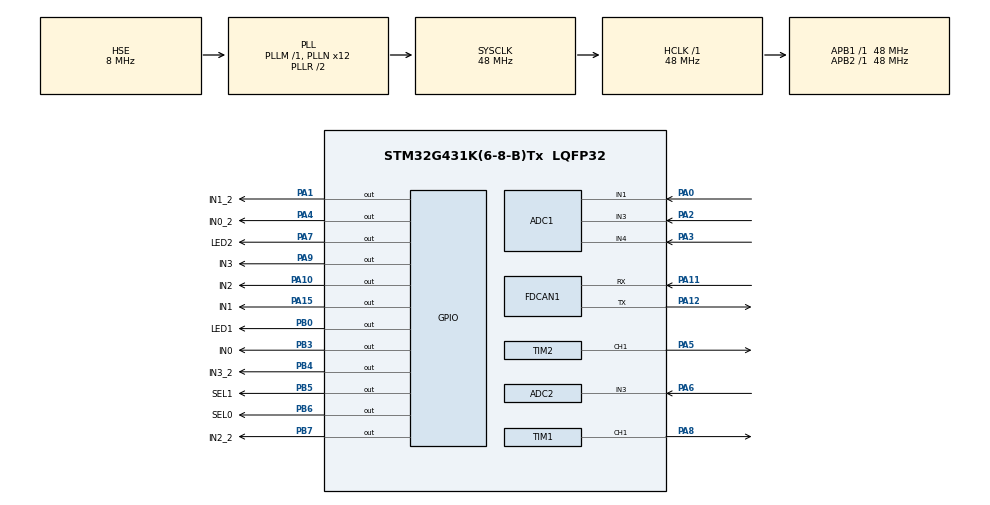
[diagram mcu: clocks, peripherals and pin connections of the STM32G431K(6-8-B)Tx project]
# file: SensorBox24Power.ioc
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ADC1.Channel-0\#ChannelRegularConversion=ADC_CHANNEL_1
ADC1.Channel-3\#ChannelRegularConversion=ADC_CHANNEL_3
ADC1.Channel-4\#ChannelRegularConversion=ADC_CHANNEL_4
ADC1.DataAlign=ADC_DATAALIGN_RIGHT
ADC1.DiscontinuousConvMode=ENABLE
ADC1.NbrOfConversion=3
ADC1.NbrOfConversionFlag=1
ADC1.OffsetNumber-0\#ChannelRegularConversion=ADC_OFFSET_NONE
ADC1.OffsetNumber-3\#ChannelRegularConversion=ADC_OFFSET_NONE
ADC1.OffsetNumber-4\#ChannelRegularConversion=ADC_OFFSET_NONE
ADC1.Rank-0\#ChannelRegularConversion=1
ADC1.Rank-3\#ChannelRegularConversion=2
ADC1.Rank-4\#ChannelRegularConversion=3
ADC1.SamplingTime-0\#ChannelRegularConversion=ADC_SAMPLETIME_12CYCLES_5
ADC1.SamplingTime-3\#ChannelRegularConversion=ADC_SAMPLETIME_12CYCLES_5
ADC1.SamplingTime-4\#ChannelRegularConversion=ADC_SAMPLETIME_2CYCLES_5
ADC1.master=1
ADC2.Channel-1\#ChannelRegularConversion=ADC_CHANNEL_3
ADC2.DataAlign=ADC_DATAALIGN_RIGHT
ADC2.NbrOfConversionFlag=1
ADC2.OffsetNumber-1\#ChannelRegularConversion=ADC_OFFSET_NONE
ADC2.Rank-1\#ChannelRegularConversion=1
ADC2.SamplingTime-1\#ChannelRegularConversion=ADC_SAMPLETIME_12CYCLES_5
FDCAN1.CalculateBaudRateNominal=1000000
FDCAN1.CalculateTimeBitNominal=1000
FDCAN1.CalculateTimeQuantumNominal=62.5
FDCAN1.NominalPrescaler=1
FDCAN1.NominalTimeSeg1=13
FDCAN1.NominalTimeSeg2=2
FDCAN1.StdFiltersNbr=28
Mcu.Family=STM32G4
Mcu.Name=STM32G431K(6-8-B)Tx
Mcu.Package=LQFP32
NVIC.FDCAN1_IT0_IRQn=true\:0\:0\:false\:false\:true\:true\:true\:true
NVIC.PriorityGroup=NVIC_PRIORITYGROUP_4
NVIC.TIM2_IRQn=true\:0\:0\:false\:false\:true\:true\:true\:true
NVIC.TIM3_IRQn=true\:0\:0\:false\:false\:true\:true\:true\:true
NVIC.TIM4_IRQn=true\:0\:0\:false\:false\:true\:true\:true\:true
NVIC.TIM7_IRQn=true\:0\:0\:false\:false\:true\:true\:true\:true
PA0.Mode=IN1-Single-Ended
PA0.Signal=ADC1_IN1
PA1.GPIO_Label=IN1_2
PA1.Signal=GPIO_Output
PA10.GPIO_Label=IN2
PA10.Signal=GPIO_Output
PA11.Mode=FDCAN_Activate
PA11.Signal=FDCAN1_RX
PA12.Mode=FDCAN_Activate
PA12.Signal=FDCAN1_TX
PA13.Mode=Serial_Wire
PA13.Signal=SYS_JTMS-SWDIO
PA14.Mode=Serial_Wire
PA14.Signal=SYS_JTCK-SWCLK
PA15.GPIO_Label=IN1
PA15.Signal=GPIO_Output
PA2.Mode=IN3-Single-Ended
PA2.Signal=ADC1_IN3
PA3.Mode=IN4-Single-Ended
PA3.Signal=ADC1_IN4
PA4.GPIO_Label=IN0_2
PA4.Signal=GPIO_Output
PA5.Signal=S_TIM2_CH1
PA6.Mode=IN3-Single-Ended
PA6.Signal=ADC2_IN3
PA7.GPIO_Label=LED2
PA7.Signal=GPIO_Output
PA8.Signal=S_TIM1_CH1
PA9.GPIO_Label=IN3
PA9.Signal=GPIO_Output
PB0.GPIO_Label=LED1
PB0.Signal=GPIO_Output
PB3.GPIO_Label=IN0
PB3.Signal=GPIO_Output
PB4.GPIO_Label=IN3_2
PB4.Signal=GPIO_Output
PB5.GPIO_Label=SEL1
PB5.Signal=GPIO_Output
PB6.GPIO_Label=SEL0
PB6.Signal=GPIO_Output
PB7.GPIO_Label=IN2_2
PB7.Signal=GPIO_Output
PF0-OSC_IN.Mode=HSE-External-Oscillator
PF0-OSC_IN.Signal=RCC_OSC_IN
PF1-OSC_OUT.Mode=HSE-External-Oscillator
PF1-OSC_OUT.Signal=RCC_OSC_OUT
ProjectManager.HeapSize=0x200
ProjectManager.StackSize=0x400
ProjectManager.TargetToolchain=STM32CubeIDE
RCC.ADC12Freq_Value=48000000
RCC.AHBFreq_Value=48000000
RCC.APB1Freq_Value=48000000
RCC.APB1TimFreq_Value=48000000
RCC.APB2Freq_Value=48000000
RCC.APB2TimFreq_Value=48000000
RCC.CortexFreq_Value=48000000
RCC.EXTERNAL_CLOCK_VALUE=12288000
RCC.FDCANCLockSelection=RCC_FDCANCLKSOURCE_PLL
RCC.HCLKFreq_Value=48000000
RCC.HSE_VALUE=8000000
RCC.HSI48_VALUE=48000000
RCC.HSI_VALUE=16000000
RCC.LSE_VALUE=32768
RCC.PLLN=12
RCC.PLLQ=RCC_PLLQ_DIV6
RCC.PLLSourceVirtual=RCC_PLLSOURCE_HSE
RCC.SYSCLKFreq_VALUE=48000000
RCC.SYSCLKSource=RCC_SYSCLKSOURCE_PLLCLK
RCC.USBFreq_Value=16000000
RCC.VCOOutputFreq_Value=96000000
SH.S_TIM1_CH1.0=TIM1_CH1,PWM Generation1 CH1
SH.S_TIM2_CH1.0=TIM2_CH1,PWM Generation1 CH1
TIM1.Channel-PWM\ Generation1\ CH1=TIM_CHANNEL_1
TIM1.PeriodNoDither=39
TIM1.Prescaler=15
TIM1.PulseNoDither_1=0
TIM2.Channel-PWM\ Generation1\ CH1=TIM_CHANNEL_1
TIM2.PeriodNoDither=39
TIM2.Prescaler=15
TIM2.PulseNoDither_1=0
TIM3.PeriodNoDither=999
TIM3.Prescaler=63
TIM4.Channel-PWM\ Generation1\ No\ Output=TIM_CHANNEL_1
VP_SYS_VS_DBSignals.Mode=DisableDeadBatterySignals
VP_TIM16_VS_ClockSourceINT.Mode=Enable_Timer
VP_TIM1_VS_ClockSourceINT.Mode=Internal
VP_TIM2_VS_ClockSourceINT.Mode=Internal
VP_TIM3_VS_ClockSourceINT.Mode=Internal
VP_TIM4_VS_ClockSourceINT.Mode=Internal
VP_TIM4_VS_no_output1.Mode=PWM Generation1 No Output
VP_TIM6_VS_ClockSourceINT.Mode=Enable_Timer
VP_TIM7_VS_ClockSourceINT.Mode=Enable_Timer
board=custom

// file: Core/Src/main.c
/* USER CODE BEGIN Header */
/**
  ******************************************************************************
  * @file           : main.c
  * @brief          : Main program body
  ******************************************************************************
  * @attention
  *
  * Copyright (c) 2023 STMicroelectronics.
  * All rights reserved.
  *
  * This software is licensed under terms that can be found in the LICENSE file
  * in the root directory of this software component.
  * If no LICENSE file comes with this software, it is provided AS-IS.
  *
  ******************************************************************************
  */
/* USER CODE END Header */
#include "main.h"

/* USER CODE BEGIN PD */
#define I_AVERAGE  32
/* USER CODE END PD */

ADC_HandleTypeDef hadc1;
ADC_HandleTypeDef hadc2;

FDCAN_HandleTypeDef hfdcan1;

TIM_HandleTypeDef htim1;
TIM_HandleTypeDef htim2;
TIM_HandleTypeDef htim3;
TIM_HandleTypeDef htim4;
TIM_HandleTypeDef htim6;
TIM_HandleTypeDef htim7;
TIM_HandleTypeDef htim16;

/* USER CODE BEGIN PV */
uint16_t IN1_1_Current_Sense[I_AVERAGE];
uint16_t IN2_1_Current_Sense[I_AVERAGE];
uint16_t IN3_1_Current_Sense[I_AVERAGE];
uint16_t IN4_1_Current_Sense[I_AVERAGE];
uint16_t IN1_2_Current_Sense[I_AVERAGE];
uint16_t IN2_2_Current_Sense[I_AVERAGE];
uint16_t IN3_2_Current_Sense[I_AVERAGE];
uint16_t IN4_2_Current_Sense[I_AVERAGE];
uint16_t Analog_Current_Sense_1[I_AVERAGE/2];
uint16_t Analog_Current_Sense_2[I_AVERAGE/2];
uint16_t Analog_Current_Sense[I_AVERAGE/2];
uint16_t PROC[9];
Outputs outputs[8];
uint16_t IN1_1_mA;
uint16_t IN2_1_mA;
uint16_t IN3_1_mA;
uint16_t IN4_1_mA;
uint16_t IN1_2_mA;
uint16_t IN2_2_mA;
uint16_t IN3_2_mA;
uint16_t IN4_2_mA;
uint16_t Warning_Current[8]; //current warnings
uint16_t Over_Current[8]; //over currents
uint16_t Under_Current[8]; //under currents

uint16_t us;
uint16_t millis;

uint8_t can_select;
uint8_t Current_Sense_SEL[2];

uint8_t Default_Switch_State;
uint8_t output_list[8];

uint8_t PWM_out_enable;
uint16_t PWM_Prescalers[2];
uint16_t PWM_width[2];
uint16_t PWM_speed[2];

uint8_t CAN_ID;
uint16_t CAN_interval;
FDCAN_TxHeaderTypeDef TxHeader;
FDCAN_RxHeaderTypeDef RxHeader;
CAN_Message RxMessage;
/* USER CODE END PV */

void SystemClock_Config(void);
static void MX_GPIO_Init(void);
static void MX_ADC1_Init(void);
static void MX_FDCAN1_Init(void);
static void MX_TIM1_Init(void);
static void MX_TIM2_Init(void);
static void MX_TIM3_Init(void);
static void MX_TIM4_Init(void);
static void MX_TIM6_Init(void);
static void MX_TIM7_Init(void);
static void MX_TIM16_Init(void);
static void MX_ADC2_Init(void);

int main(void)
{

  /* MCU Configuration--------------------------------------------------------*/

  /* Reset of all peripherals, Initializes the Flash interface and the Systick. */
  HAL_Init();

  /* USER CODE BEGIN Init */
  Config_Setup();
  /* USER CODE END Init */

  /* Configure the system clock */
  SystemClock_Config();

  /* Initialize all configured peripherals */
  MX_GPIO_Init();
  MX_ADC1_Init();
  MX_FDCAN1_Init();
  MX_TIM1_Init();
  MX_TIM2_Init();
  MX_TIM3_Init();
  MX_TIM4_Init();
  MX_TIM6_Init();
  MX_TIM7_Init();
  MX_TIM16_Init();
  MX_ADC2_Init();
  /* USER CODE BEGIN 2 */
  HAL_GPIO_WritePin(GPIOA,LED2_Pin,0);

  HAL_TIM_PWM_Init(&htim1);
  HAL_TIM_PWM_Init(&htim2);
  HAL_TIM_Base_Start_IT(&htim3);

  HAL_TIM_PWM_Start(&htim1,TIM_CHANNEL_1);
  HAL_TIM_PWM_Start(&htim2,TIM_CHANNEL_1);

  set_pwm_duty_cycle(&htim1);
  set_pwm_duty_cycle(&htim2);

  if(HAL_FDCAN_Start(&hfdcan1)!= HAL_OK){ Error_Handler(); }else{HAL_GPIO_WritePin(GPIOB,LED1_Pin,1); }
  if(HAL_FDCAN_ActivateNotification(&hfdcan1, FDCAN_IT_RX_FIFO0_NEW_MESSAGE,0) != HAL_OK) { Error_Handler(); }

  HAL_Delay(2000);
  HAL_GPIO_WritePin(GPIOA,LED2_Pin,1);
  /* USER CODE END 2 */

  /* Infinite loop */
  while (1)
  {

    /* USER CODE BEGIN 3 */
		 __HAL_TIM_SET_COMPARE(&htim1, TIM_CHANNEL_1,PWM_speed[0]);

		 __HAL_TIM_SET_COMPARE(&htim2, TIM_CHANNEL_1,PWM_speed[1]);
	  if(millis % 10 == 0){

		  Current_Sense_read();
	  }
	  //check_warnings();
	  //if receives message to change pwm then set_pwm(duty cycle)

  }
  /* USER CODE END 3 */
}

void SystemClock_Config(void)
{
  RCC_OscInitTypeDef RCC_OscInitStruct = {0};
  RCC_ClkInitTypeDef RCC_ClkInitStruct = {0};

  /** Configure the main internal regulator output voltage
  */
  HAL_PWREx_ControlVoltageScaling(PWR_REGULATOR_VOLTAGE_SCALE1);

  /** Initializes the RCC Oscillators according to the specified parameters
  * in the RCC_OscInitTypeDef structure.
  */
  RCC_OscInitStruct.OscillatorType = RCC_OSCILLATORTYPE_HSE;
  RCC_OscInitStruct.HSEState = RCC_HSE_ON;
  RCC_OscInitStruct.PLL.PLLState = RCC_PLL_ON;
  RCC_OscInitStruct.PLL.PLLSource = RCC_PLLSOURCE_HSE;
  RCC_OscInitStruct.PLL.PLLM = RCC_PLLM_DIV1;
  RCC_OscInitStruct.PLL.PLLN = 12;
  RCC_OscInitStruct.PLL.PLLP = RCC_PLLP_DIV2;
  RCC_OscInitStruct.PLL.PLLQ = RCC_PLLQ_DIV6;
  RCC_OscInitStruct.PLL.PLLR = RCC_PLLR_DIV2;
  if (HAL_RCC_OscConfig(&RCC_OscInitStruct) != HAL_OK)
  {
    Error_Handler();
  }

  /** Initializes the CPU, AHB and APB buses clocks
  */
  RCC_ClkInitStruct.ClockType = RCC_CLOCKTYPE_HCLK|RCC_CLOCKTYPE_SYSCLK
                              |RCC_CLOCKTYPE_PCLK1|RCC_CLOCKTYPE_PCLK2;
  RCC_ClkInitStruct.SYSCLKSource = RCC_SYSCLKSOURCE_PLLCLK;
  RCC_ClkInitStruct.AHBCLKDivider = RCC_SYSCLK_DIV1;
  RCC_ClkInitStruct.APB1CLKDivider = RCC_HCLK_DIV1;
  RCC_ClkInitStruct.APB2CLKDivider = RCC_HCLK_DIV1;

  if (HAL_RCC_ClockConfig(&RCC_ClkInitStruct, FLASH_LATENCY_1) != HAL_OK)
  {
    Error_Handler();
  }
}

static void MX_ADC1_Init(void)
{

  ADC_MultiModeTypeDef multimode = {0};
  ADC_ChannelConfTypeDef sConfig = {0};

  /** Common config
  */
  hadc1.Instance = ADC1;
  hadc1.Init.ClockPrescaler = ADC_CLOCK_SYNC_PCLK_DIV2;
  hadc1.Init.Resolution = ADC_RESOLUTION_12B;
  hadc1.Init.DataAlign = ADC_DATAALIGN_RIGHT;
  hadc1.Init.GainCompensation = 0;
  hadc1.Init.ScanConvMode = ADC_SCAN_ENABLE;
  hadc1.Init.EOCSelection = ADC_EOC_SINGLE_CONV;
  hadc1.Init.LowPowerAutoWait = DISABLE;
  hadc1.Init.ContinuousConvMode = DISABLE;
  hadc1.Init.NbrOfConversion = 3;
  hadc1.Init.DiscontinuousConvMode = ENABLE;
  hadc1.Init.NbrOfDiscConversion = 1;
  hadc1.Init.ExternalTrigConv = ADC_SOFTWARE_START;
  hadc1.Init.ExternalTrigConvEdge = ADC_EXTERNALTRIGCONVEDGE_NONE;
  hadc1.Init.DMAContinuousRequests = DISABLE;
  hadc1.Init.Overrun = ADC_OVR_DATA_PRESERVED;
  hadc1.Init.OversamplingMode = DISABLE;
  if (HAL_ADC_Init(&hadc1) != HAL_OK)
  {
    Error_Handler();
  }

  /** Configure the ADC multi-mode
  */
  multimode.Mode = ADC_MODE_INDEPENDENT;
  if (HAL_ADCEx_MultiModeConfigChannel(&hadc1, &multimode) != HAL_OK)
  {
    Error_Handler();
  }

  /** Configure Regular Channel
  */
  sConfig.Channel = ADC_CHANNEL_1;
  sConfig.Rank = ADC_REGULAR_RANK_1;
  sConfig.SamplingTime = ADC_SAMPLETIME_12CYCLES_5;
  sConfig.SingleDiff = ADC_SINGLE_ENDED;
  sConfig.OffsetNumber = ADC_OFFSET_NONE;
  sConfig.Offset = 0;
  if (HAL_ADC_ConfigChannel(&hadc1, &sConfig) != HAL_OK)
  {
    Error_Handler();
  }

  /** Configure Regular Channel
  */
  sConfig.Channel = ADC_CHANNEL_3;
  sConfig.Rank = ADC_REGULAR_RANK_2;
  if (HAL_ADC_ConfigChannel(&hadc1, &sConfig) != HAL_OK)
  {
    Error_Handler();
  }

  /** Configure Regular Channel
  */
  sConfig.Channel = ADC_CHANNEL_4;
  sConfig.Rank = ADC_REGULAR_RANK_3;
  sConfig.SamplingTime = ADC_SAMPLETIME_2CYCLES_5;
  if (HAL_ADC_ConfigChannel(&hadc1, &sConfig) != HAL_OK)
  {
    Error_Handler();
  }
  /* USER CODE BEGIN ADC1_Init 2 */
  //if (HAL_ADCEx_Calibration_Start(&hadc1, ADC_DIFFERENTIAL_ENDED)!= HAL_OK){ Error_Handler(); }
  /* USER CODE END ADC1_Init 2 */

}

static void MX_ADC2_Init(void)
{

  ADC_ChannelConfTypeDef sConfig = {0};

  /** Common config
  */
  hadc2.Instance = ADC2;
  hadc2.Init.ClockPrescaler = ADC_CLOCK_SYNC_PCLK_DIV2;
  hadc2.Init.Resolution = ADC_RESOLUTION_12B;
  hadc2.Init.DataAlign = ADC_DATAALIGN_RIGHT;
  hadc2.Init.GainCompensation = 0;
  hadc2.Init.ScanConvMode = ADC_SCAN_DISABLE;
  hadc2.Init.EOCSelection = ADC_EOC_SINGLE_CONV;
  hadc2.Init.LowPowerAutoWait = DISABLE;
  hadc2.Init.ContinuousConvMode = DISABLE;
  hadc2.Init.NbrOfConversion = 1;
  hadc2.Init.DiscontinuousConvMode = DISABLE;
  hadc2.Init.ExternalTrigConv = ADC_SOFTWARE_START;
  hadc2.Init.ExternalTrigConvEdge = ADC_EXTERNALTRIGCONVEDGE_NONE;
  hadc2.Init.DMAContinuousRequests = DISABLE;
  hadc2.Init.Overrun = ADC_OVR_DATA_PRESERVED;
  hadc2.Init.OversamplingMode = DISABLE;
  if (HAL_ADC_Init(&hadc2) != HAL_OK)
  {
    Error_Handler();
  }

  /** Configure Regular Channel
  */
  sConfig.Channel = ADC_CHANNEL_3;
  sConfig.Rank = ADC_REGULAR_RANK_1;
  sConfig.SamplingTime = ADC_SAMPLETIME_12CYCLES_5;
  sConfig.SingleDiff = ADC_SINGLE_ENDED;
  sConfig.OffsetNumber = ADC_OFFSET_NONE;
  sConfig.Offset = 0;
  if (HAL_ADC_ConfigChannel(&hadc2, &sConfig) != HAL_OK)
  {
    Error_Handler();
  }
  /* USER CODE BEGIN ADC2_Init 2 */
  //if (HAL_ADCEx_Calibration_Start(&hadc2, ADC_DIFFERENTIAL_ENDED)!= HAL_OK){ Error_Handler(); }
  /* USER CODE END ADC2_Init 2 */

}

static void MX_FDCAN1_Init(void)
{

  hfdcan1.Instance = FDCAN1;
  hfdcan1.Init.ClockDivider = FDCAN_CLOCK_DIV1;
  hfdcan1.Init.FrameFormat = FDCAN_FRAME_CLASSIC;
  hfdcan1.Init.Mode = FDCAN_MODE_NORMAL;
  hfdcan1.Init.AutoRetransmission = DISABLE;
  hfdcan1.Init.TransmitPause = DISABLE;
  hfdcan1.Init.ProtocolException = DISABLE;
  hfdcan1.Init.NominalPrescaler = 1;
  hfdcan1.Init.NominalSyncJumpWidth = 1;
  hfdcan1.Init.NominalTimeSeg1 = 13;
  hfdcan1.Init.NominalTimeSeg2 = 2;
  hfdcan1.Init.DataPrescaler = 1;
  hfdcan1.Init.DataSyncJumpWidth = 1;
  hfdcan1.Init.DataTimeSeg1 = 1;
  hfdcan1.Init.DataTimeSeg2 = 1;
  hfdcan1.Init.StdFiltersNbr = 28;
  hfdcan1.Init.ExtFiltersNbr = 0;
  hfdcan1.Init.TxFifoQueueMode = FDCAN_TX_FIFO_OPERATION;
  if (HAL_FDCAN_Init(&hfdcan1) != HAL_OK)
  {
    Error_Handler();
  }
  /* USER CODE BEGIN FDCAN1_Init 2 */
  TxHeader.Identifier = CAN_ID; // Modify this with your identifier
  TxHeader.IdType = FDCAN_STANDARD_ID;
  TxHeader.TxFrameType = FDCAN_DATA_FRAME;
  TxHeader.DataLength = 5;
  TxHeader.ErrorStateIndicator = FDCAN_ESI_ACTIVE;
  TxHeader.BitRateSwitch = FDCAN_BRS_OFF;
  TxHeader.FDFormat = FDCAN_CLASSIC_CAN;
  TxHeader.TxEventFifoControl = FDCAN_NO_TX_EVENTS;
  TxHeader.MessageMarker = 0;
  /* USER CODE END FDCAN1_Init 2 */

}

static void MX_TIM1_Init(void)
{

  TIM_ClockConfigTypeDef sClockSourceConfig = {0};
  TIM_MasterConfigTypeDef sMasterConfig = {0};
  TIM_OC_InitTypeDef sConfigOC = {0};
  TIM_BreakDeadTimeConfigTypeDef sBreakDeadTimeConfig = {0};

  htim1.Instance = TIM1;
  htim1.Init.Prescaler = 15;
  htim1.Init.CounterMode = TIM_COUNTERMODE_UP;
  htim1.Init.Period = 39;
  htim1.Init.ClockDivision = TIM_CLOCKDIVISION_DIV1;
  htim1.Init.RepetitionCounter = 0;
  htim1.Init.AutoReloadPreload = TIM_AUTORELOAD_PRELOAD_DISABLE;
  if (HAL_TIM_Base_Init(&htim1) != HAL_OK)
  {
    Error_Handler();
  }
  sClockSourceConfig.ClockSource = TIM_CLOCKSOURCE_INTERNAL;
  if (HAL_TIM_ConfigClockSource(&htim1, &sClockSourceConfig) != HAL_OK)
  {
    Error_Handler();
  }
  if (HAL_TIM_PWM_Init(&htim1) != HAL_OK)
  {
    Error_Handler();
  }
  sMasterConfig.MasterOutputTrigger = TIM_TRGO_RESET;
  sMasterConfig.MasterOutputTrigger2 = TIM_TRGO2_RESET;
  sMasterConfig.MasterSlaveMode = TIM_MASTERSLAVEMODE_DISABLE;
  if (HAL_TIMEx_MasterConfigSynchronization(&htim1, &sMasterConfig) != HAL_OK)
  {
    Error_Handler();
  }
  sConfigOC.OCMode = TIM_OCMODE_PWM1;
  sConfigOC.Pulse = 0;
  sConfigOC.OCPolarity = TIM_OCPOLARITY_HIGH;
  sConfigOC.OCNPolarity = TIM_OCNPOLARITY_HIGH;
  sConfigOC.OCFastMode = TIM_OCFAST_DISABLE;
  sConfigOC.OCIdleState = TIM_OCIDLESTATE_RESET;
  sConfigOC.OCNIdleState = TIM_OCNIDLESTATE_RESET;
  if (HAL_TIM_PWM_ConfigChannel(&htim1, &sConfigOC, TIM_CHANNEL_1) != HAL_OK)
  {
    Error_Handler();
  }
  sBreakDeadTimeConfig.OffStateRunMode = TIM_OSSR_DISABLE;
  sBreakDeadTimeConfig.OffStateIDLEMode = TIM_OSSI_DISABLE;
  sBreakDeadTimeConfig.LockLevel = TIM_LOCKLEVEL_OFF;
  sBreakDeadTimeConfig.DeadTime = 0;
  sBreakDeadTimeConfig.BreakState = TIM_BREAK_DISABLE;
  sBreakDeadTimeConfig.BreakPolarity = TIM_BREAKPOLARITY_HIGH;
  sBreakDeadTimeConfig.BreakFilter = 0;
  sBreakDeadTimeConfig.BreakAFMode = TIM_BREAK_AFMODE_INPUT;
  sBreakDeadTimeConfig.Break2State = TIM_BREAK2_DISABLE;
  sBreakDeadTimeConfig.Break2Polarity = TIM_BREAK2POLARITY_HIGH;
  sBreakDeadTimeConfig.Break2Filter = 0;
  sBreakDeadTimeConfig.Break2AFMode = TIM_BREAK_AFMODE_INPUT;
  sBreakDeadTimeConfig.AutomaticOutput = TIM_AUTOMATICOUTPUT_DISABLE;
  if (HAL_TIMEx_ConfigBreakDeadTime(&htim1, &sBreakDeadTimeConfig) != HAL_OK)
  {
    Error_Handler();
  }
  HAL_TIM_MspPostInit(&htim1);

}

static void MX_TIM2_Init(void)
{

  TIM_ClockConfigTypeDef sClockSourceConfig = {0};
  TIM_MasterConfigTypeDef sMasterConfig = {0};
  TIM_OC_InitTypeDef sConfigOC = {0};

  htim2.Instance = TIM2;
  htim2.Init.Prescaler = 15;
  htim2.Init.CounterMode = TIM_COUNTERMODE_UP;
  htim2.Init.Period = 39;
  htim2.Init.ClockDivision = TIM_CLOCKDIVISION_DIV1;
  htim2.Init.AutoReloadPreload = TIM_AUTORELOAD_PRELOAD_DISABLE;
  if (HAL_TIM_Base_Init(&htim2) != HAL_OK)
  {
    Error_Handler();
  }
  sClockSourceConfig.ClockSource = TIM_CLOCKSOURCE_INTERNAL;
  if (HAL_TIM_ConfigClockSource(&htim2, &sClockSourceConfig) != HAL_OK)
  {
    Error_Handler();
  }
  if (HAL_TIM_PWM_Init(&htim2) != HAL_OK)
  {
    Error_Handler();
  }
  sMasterConfig.MasterOutputTrigger = TIM_TRGO_RESET;
  sMasterConfig.MasterSlaveMode = TIM_MASTERSLAVEMODE_DISABLE;
  if (HAL_TIMEx_MasterConfigSynchronization(&htim2, &sMasterConfig) != HAL_OK)
  {
    Error_Handler();
  }
  sConfigOC.OCMode = TIM_OCMODE_PWM1;
  sConfigOC.Pulse = 0;
  sConfigOC.OCPolarity = TIM_OCPOLARITY_HIGH;
  sConfigOC.OCFastMode = TIM_OCFAST_DISABLE;
  if (HAL_TIM_PWM_ConfigChannel(&htim2, &sConfigOC, TIM_CHANNEL_1) != HAL_OK)
  {
    Error_Handler();
  }
  HAL_TIM_MspPostInit(&htim2);

}

static void MX_TIM3_Init(void)
{

  TIM_ClockConfigTypeDef sClockSourceConfig = {0};
  TIM_MasterConfigTypeDef sMasterConfig = {0};

  htim3.Instance = TIM3;
  htim3.Init.Prescaler = 63;
  htim3.Init.CounterMode = TIM_COUNTERMODE_UP;
  htim3.Init.Period = 999;
  htim3.Init.ClockDivision = TIM_CLOCKDIVISION_DIV1;
  htim3.Init.AutoReloadPreload = TIM_AUTORELOAD_PRELOAD_DISABLE;
  if (HAL_TIM_Base_Init(&htim3) != HAL_OK)
  {
    Error_Handler();
  }
  sClockSourceConfig.ClockSource = TIM_CLOCKSOURCE_INTERNAL;
  if (HAL_TIM_ConfigClockSource(&htim3, &sClockSourceConfig) != HAL_OK)
  {
    Error_Handler();
  }
  sMasterConfig.MasterOutputTrigger = TIM_TRGO_RESET;
  sMasterConfig.MasterSlaveMode = TIM_MASTERSLAVEMODE_DISABLE;
  if (HAL_TIMEx_MasterConfigSynchronization(&htim3, &sMasterConfig) != HAL_OK)
  {
    Error_Handler();
  }

}

static void MX_TIM4_Init(void)
{

  TIM_ClockConfigTypeDef sClockSourceConfig = {0};
  TIM_MasterConfigTypeDef sMasterConfig = {0};
  TIM_OC_InitTypeDef sConfigOC = {0};

  htim4.Instance = TIM4;
  htim4.Init.Prescaler = 0;
  htim4.Init.CounterMode = TIM_COUNTERMODE_UP;
  htim4.Init.Period = 65535;
  htim4.Init.ClockDivision = TIM_CLOCKDIVISION_DIV1;
  htim4.Init.AutoReloadPreload = TIM_AUTORELOAD_PRELOAD_DISABLE;
  if (HAL_TIM_Base_Init(&htim4) != HAL_OK)
  {
    Error_Handler();
  }
  sClockSourceConfig.ClockSource = TIM_CLOCKSOURCE_INTERNAL;
  if (HAL_TIM_ConfigClockSource(&htim4, &sClockSourceConfig) != HAL_OK)
  {
    Error_Handler();
  }
  if (HAL_TIM_PWM_Init(&htim4) != HAL_OK)
  {
    Error_Handler();
  }
  sMasterConfig.MasterOutputTrigger = TIM_TRGO_RESET;
  sMasterConfig.MasterSlaveMode = TIM_MASTERSLAVEMODE_DISABLE;
  if (HAL_TIMEx_MasterConfigSynchronization(&htim4, &sMasterConfig) != HAL_OK)
  {
    Error_Handler();
  }
  sConfigOC.OCMode = TIM_OCMODE_PWM1;
  sConfigOC.Pulse = 0;
  sConfigOC.OCPolarity = TIM_OCPOLARITY_HIGH;
  sConfigOC.OCFastMode = TIM_OCFAST_DISABLE;
  if (HAL_TIM_PWM_ConfigChannel(&htim4, &sConfigOC, TIM_CHANNEL_1) != HAL_OK)
  {
    Error_Handler();
  }

}

static void MX_TIM6_Init(void)
{

  TIM_MasterConfigTypeDef sMasterConfig = {0};

  htim6.Instance = TIM6;
  htim6.Init.Prescaler = 0;
  htim6.Init.CounterMode = TIM_COUNTERMODE_UP;
  htim6.Init.Period = 65535;
  htim6.Init.AutoReloadPreload = TIM_AUTORELOAD_PRELOAD_DISABLE;
  if (HAL_TIM_Base_Init(&htim6) != HAL_OK)
  {
    Error_Handler();
  }
  sMasterConfig.MasterOutputTrigger = TIM_TRGO_RESET;
  sMasterConfig.MasterSlaveMode = TIM_MASTERSLAVEMODE_DISABLE;
  if (HAL_TIMEx_MasterConfigSynchronization(&htim6, &sMasterConfig) != HAL_OK)
  {
    Error_Handler();
  }

}

static void MX_TIM7_Init(void)
{

  TIM_MasterConfigTypeDef sMasterConfig = {0};

  htim7.Instance = TIM7;
  htim7.Init.Prescaler = 0;
  htim7.Init.CounterMode = TIM_COUNTERMODE_UP;
  htim7.Init.Period = 65535;
  htim7.Init.AutoReloadPreload = TIM_AUTORELOAD_PRELOAD_DISABLE;
  if (HAL_TIM_Base_Init(&htim7) != HAL_OK)
  {
    Error_Handler();
  }
  sMasterConfig.MasterOutputTrigger = TIM_TRGO_RESET;
  sMasterConfig.MasterSlaveMode = TIM_MASTERSLAVEMODE_DISABLE;
  if (HAL_TIMEx_MasterConfigSynchronization(&htim7, &sMasterConfig) != HAL_OK)
  {
    Error_Handler();
  }

}

static void MX_TIM16_Init(void)
{

  htim16.Instance = TIM16;
  htim16.Init.Prescaler = 0;
  htim16.Init.CounterMode = TIM_COUNTERMODE_UP;
  htim16.Init.Period = 65535;
  htim16.Init.ClockDivision = TIM_CLOCKDIVISION_DIV1;
  htim16.Init.RepetitionCounter = 0;
  htim16.Init.AutoReloadPreload = TIM_AUTORELOAD_PRELOAD_DISABLE;
  if (HAL_TIM_Base_Init(&htim16) != HAL_OK)
  {
    Error_Handler();
  }

}

static void MX_GPIO_Init(void)
{
  GPIO_InitTypeDef GPIO_InitStruct = {0};

  /* GPIO Ports Clock Enable */
  __HAL_RCC_GPIOF_CLK_ENABLE();
  __HAL_RCC_GPIOA_CLK_ENABLE();
  __HAL_RCC_GPIOB_CLK_ENABLE();

  /*Configure GPIO pin Output Level */
  HAL_GPIO_WritePin(GPIOA, IN1_2_Pin|IN0_2_Pin|LED2_Pin|IN3_Pin
                          |IN2_Pin|IN1_Pin, GPIO_PIN_RESET);

  /*Configure GPIO pin Output Level */
  HAL_GPIO_WritePin(GPIOB, LED1_Pin|IN0_Pin|IN3_2_Pin|SEL1_Pin
                          |SEL0_Pin|IN2_2_Pin, GPIO_PIN_RESET);

  /*Configure GPIO pins : IN1_2_Pin IN0_2_Pin LED2_Pin IN3_Pin
                           IN2_Pin IN1_Pin */
  GPIO_InitStruct.Pin = IN1_2_Pin|IN0_2_Pin|LED2_Pin|IN3_Pin
                          |IN2_Pin|IN1_Pin;
  GPIO_InitStruct.Mode = GPIO_MODE_OUTPUT_PP;
  GPIO_InitStruct.Pull = GPIO_NOPULL;
  GPIO_InitStruct.Speed = GPIO_SPEED_FREQ_LOW;
  HAL_GPIO_Init(GPIOA, &GPIO_InitStruct);

  /*Configure GPIO pins : LED1_Pin IN0_Pin IN3_2_Pin SEL1_Pin
                           SEL0_Pin IN2_2_Pin */
  GPIO_InitStruct.Pin = LED1_Pin|IN0_Pin|IN3_2_Pin|SEL1_Pin
                          |SEL0_Pin|IN2_2_Pin;
  GPIO_InitStruct.Mode = GPIO_MODE_OUTPUT_PP;
  GPIO_InitStruct.Pull = GPIO_NOPULL;
  GPIO_InitStruct.Speed = GPIO_SPEED_FREQ_LOW;
  HAL_GPIO_Init(GPIOB, &GPIO_InitStruct);

}

void Error_Handler(void)
{
  __disable_irq();
  while (1)
  {
  }
}
